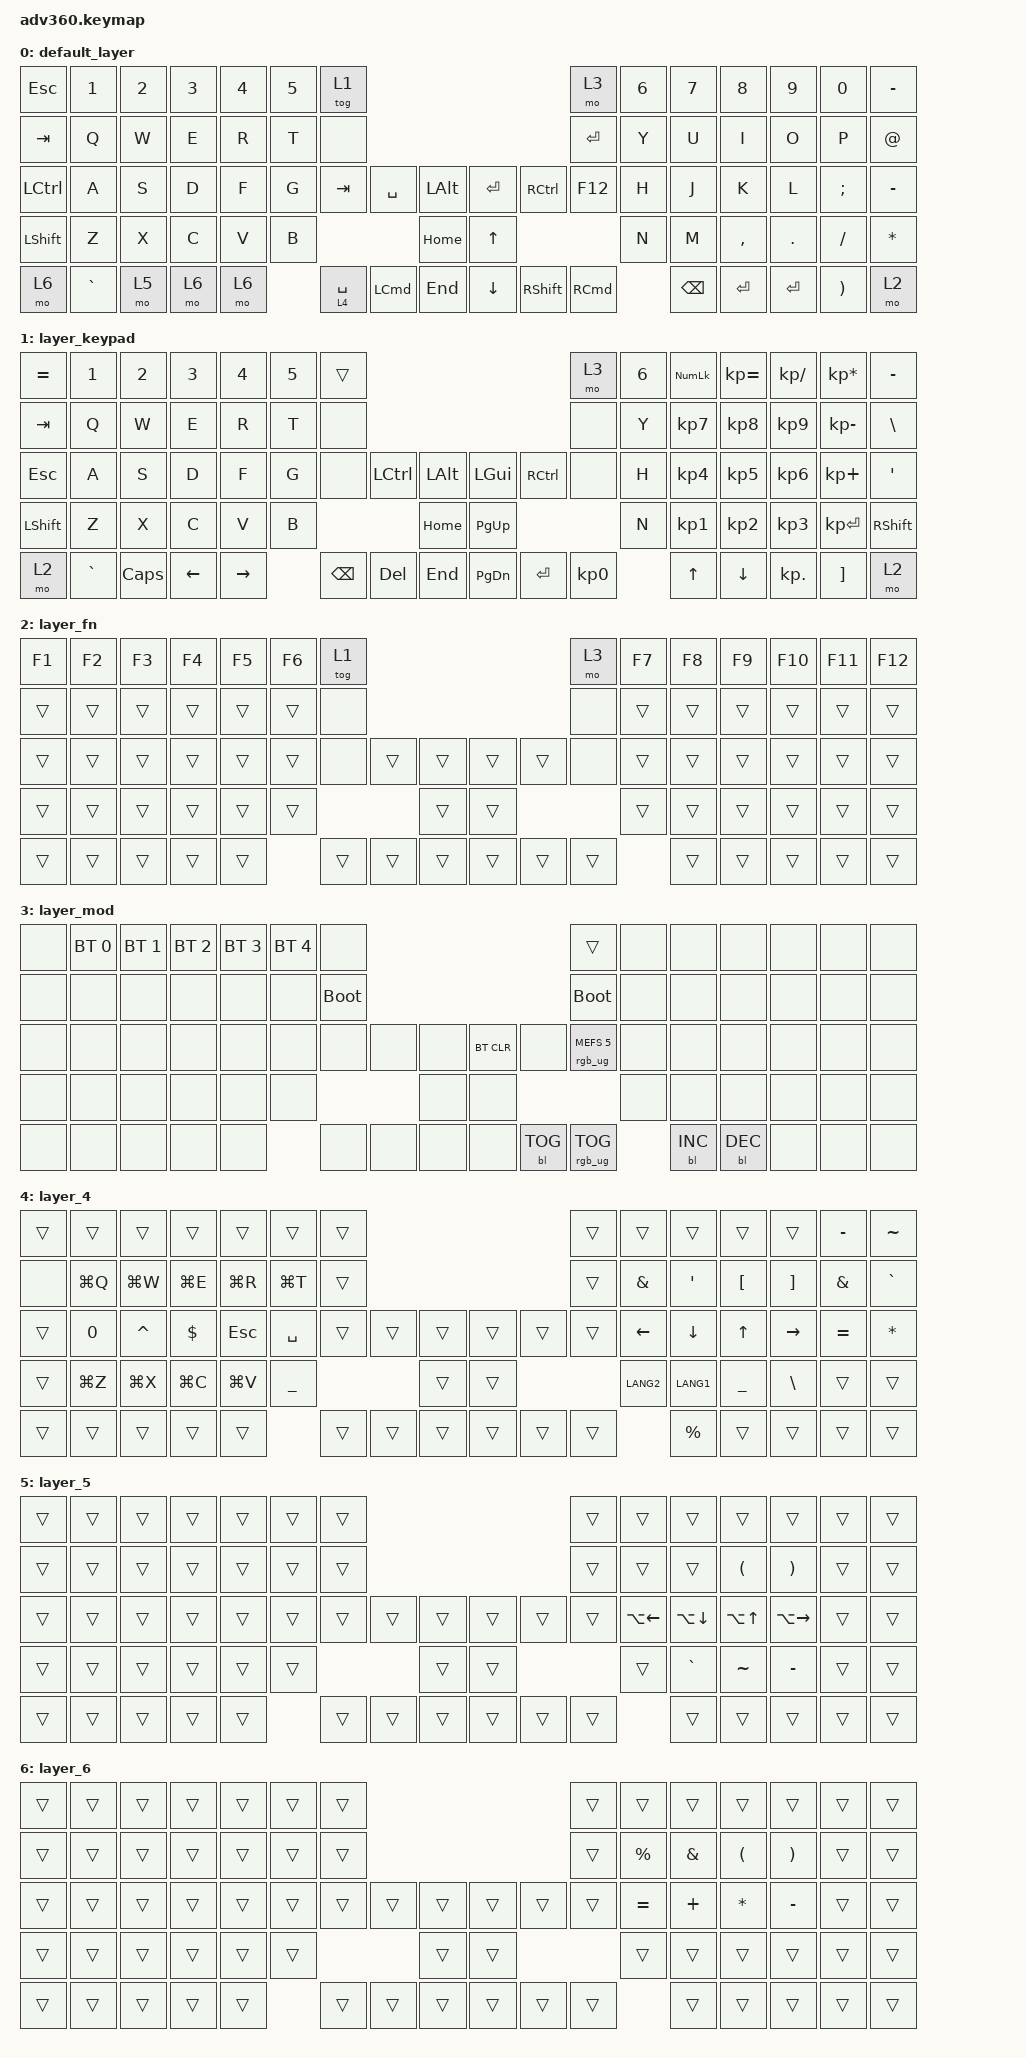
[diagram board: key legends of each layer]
/*
 * Copyright (c) 2020 The ZMK Contributors
 *
 * SPDX-License-Identifier: MIT
 */
/* THIS FILE WAS GENERATED!
 *
 * This file was generated automatically. You may or may not want to
 * edit it directly.
 */

#include <behaviors.dtsi>
#include <dt-bindings/zmk/backlight.h>
#include <dt-bindings/zmk/bt.h>
#include <dt-bindings/zmk/keys.h>
#include <dt-bindings/zmk/rgb.h>

&lt {
    flavor = "hold-preferred";
    tapping-term-ms = <10000>;
};

/ {
    behaviors {
        #include "macros.dtsi"
    #include "version.dtsi"

        hm: homerow_mods {
            compatible = "zmk,behavior-hold-tap";
            label = "HOMEROW_MODS";
            #binding-cells = <2>;
            tapping-term-ms = <200>;
            quick_tap_ms = <175>;
            flavor = "tap-preferred";
            bindings = <&kp>, <&kp>;
        };
    };

    combos { compatible = "zmk,combos"; };

    macros {
        cmdtab: cmdtab {
            compatible = "zmk,behavior-macro";
            #binding-cells = <0>;
            bindings =
                <&macro_press>,
                <&kp LCMD &kp TAB>,
                <&macro_release>,
                <&kp TAB>;

            label = "CMDTAB";
        };
    };

    keymap {
        compatible = "zmk,keymap";

        default_layer {
            bindings = <
&kp ESCAPE  &kp N1     &kp N2  &kp N3  &kp N4  &kp N5  &tog 1                                                                      &mo 3              &kp N6  &kp N7         &kp N8     &kp N9     &kp N0                 &kp MINUS
&kp TAB     &kp Q      &kp W   &kp E   &kp R   &kp T   &none                                                                       &kp ENTER          &kp Y   &kp U          &kp I      &kp O      &kp P                  &kp AT
&kp LCTRL   &kp A      &kp S   &kp D   &kp F   &kp G   &kp TAB      &kp SPACE         &kp LALT      &kp ENTER     &kp RCTRL        &kp F12            &kp H   &kp J          &kp K      &kp L      &kp SEMI               &kp MINUS
&kp LSHFT   &kp Z      &kp X   &kp C   &kp V   &kp B                                  &kp HOME      &kp UP_ARROW                                      &kp N   &kp M          &kp COMMA  &kp DOT    &kp FSLH               &kp ASTERISK
&mo 6       &kp GRAVE  &mo 5   &mo 6   &mo 6           &lt 4 SPACE  &kp LEFT_COMMAND  &kp END       &kp DOWN      &kp RIGHT_SHIFT  &kp RIGHT_COMMAND          &kp BACKSPACE  &kp ENTER  &kp ENTER  &kp RIGHT_PARENTHESIS  &mo 2
            >;
        };

        layer_keypad {
            bindings = <
&kp EQUAL  &kp N1     &kp N2    &kp N3    &kp N4     &kp N5  &trans                                                   &mo 3      &kp N6  &kp KP_NUM  &kp KP_EQUAL  &kp KP_DIVIDE  &kp KP_MULTIPLY  &kp MINUS
&kp TAB    &kp Q      &kp W     &kp E     &kp R      &kp T   &none                                                    &none      &kp Y   &kp KP_N7   &kp KP_N8     &kp KP_N9      &kp KP_MINUS     &kp BSLH
&kp ESC    &kp A      &kp S     &kp D     &kp F      &kp G   &none     &kp LCTRL  &kp LALT      &kp LGUI   &kp RCTRL  &none      &kp H   &kp KP_N4   &kp KP_N5     &kp KP_N6      &kp KP_PLUS      &kp SQT
&kp LSHFT  &kp Z      &kp X     &kp C     &kp V      &kp B                        &kp HOME      &kp PG_UP                        &kp N   &kp KP_N1   &kp KP_N2     &kp KP_N3      &kp KP_ENTER     &kp RSHFT
&mo 2      &kp GRAVE  &kp CAPS  &kp LEFT  &kp RIGHT          &kp BSPC  &kp DEL    &kp END       &kp PG_DN  &kp ENTER  &kp KP_N0          &kp UP      &kp DOWN      &kp KP_DOT     &kp RBKT         &mo 2
            >;
        };

        layer_fn {
            bindings = <
&kp F1  &kp F2  &kp F3  &kp F4  &kp F5  &kp F6  &tog 1                                      &mo 3   &kp F7  &kp F8  &kp F9  &kp F10  &kp F11  &kp F12
&trans  &trans  &trans  &trans  &trans  &trans  &none                                       &none   &trans  &trans  &trans  &trans   &trans   &trans
&trans  &trans  &trans  &trans  &trans  &trans  &none   &trans  &trans      &trans  &trans  &none   &trans  &trans  &trans  &trans   &trans   &trans
&trans  &trans  &trans  &trans  &trans  &trans                  &trans      &trans                  &trans  &trans  &trans  &trans   &trans   &trans
&trans  &trans  &trans  &trans  &trans          &trans  &trans  &trans      &trans  &trans  &trans          &trans  &trans  &trans   &trans   &trans
            >;
        };

        layer_mod {
            bindings = <
&none  &bt BT_SEL 0  &bt BT_SEL 1  &bt BT_SEL 2  &bt BT_SEL 3  &bt BT_SEL 4  &none                                                  &trans                  &none  &none       &none       &none  &none  &none
&none  &none         &none         &none         &none         &none         &bootloader                                            &bootloader             &none  &none       &none       &none  &none  &none
&none  &none         &none         &none         &none         &none         &none        &none  &none      &bt BT_CLR  &none       &rgb_ug RGB_MEFS_CMD 5  &none  &none       &none       &none  &none  &none
&none  &none         &none         &none         &none         &none                             &none      &none                                           &none  &none       &none       &none  &none  &none
&none  &none         &none         &none         &none                       &none        &none  &none      &none       &bl BL_TOG  &rgb_ug RGB_TOG                &bl BL_INC  &bl BL_DEC  &none  &none  &none
            >;
        };

        layer_4 {
            bindings = <
&trans  &trans        &trans     &trans      &trans     &trans          &trans                                      &trans  &trans         &trans            &trans            &trans             &kp MINUS      &kp TILDE
&none   &kp LG(Q)     &kp LG(W)  &kp LG(E)   &kp LG(R)  &kp LG(T)       &trans                                      &trans  &kp AMPERSAND  &kp SINGLE_QUOTE  &kp LEFT_BRACKET  &kp RIGHT_BRACKET  &kp AMPERSAND  &kp GRAVE
&trans  &kp NUMBER_0  &kp CARET  &kp DOLLAR  &kp ESC    &kp SPACE       &trans  &trans  &trans      &trans  &trans  &trans  &kp LEFT       &kp DOWN          &kp UP            &kp RIGHT          &kp EQUAL      &kp ASTERISK
&trans  &kp LG(Z)     &kp LG(X)  &kp LG(C)   &kp LG(V)  &kp UNDERSCORE                  &trans      &trans                  &kp LANG2      &kp LANG1         &kp UNDERSCORE    &kp BACKSLASH      &trans         &trans
&trans  &trans        &trans     &trans      &trans                     &trans  &trans  &trans      &trans  &trans  &trans                 &kp PERCENT       &trans            &trans             &trans         &trans
            >;
        };

        layer_5 {
            bindings = <
&trans  &trans  &trans  &trans  &trans  &trans  &trans                                      &trans  &trans        &trans        &trans                &trans                 &trans  &trans
&trans  &trans  &trans  &trans  &trans  &trans  &trans                                      &trans  &trans        &trans        &kp LEFT_PARENTHESIS  &kp RIGHT_PARENTHESIS  &trans  &trans
&trans  &trans  &trans  &trans  &trans  &trans  &trans  &trans  &trans      &trans  &trans  &trans  &kp LA(LEFT)  &kp LA(DOWN)  &kp LA(UP_ARROW)      &kp LA(RIGHT)          &trans  &trans
&trans  &trans  &trans  &trans  &trans  &trans                  &trans      &trans                  &trans        &kp GRAVE     &kp TILDE             &kp MINUS              &trans  &trans
&trans  &trans  &trans  &trans  &trans          &trans  &trans  &trans      &trans  &trans  &trans                &trans        &trans                &trans                 &trans  &trans
            >;
        };

        layer_6 {
            bindings = <
&trans  &trans  &trans  &trans  &trans  &trans  &trans                                      &trans  &trans       &trans         &trans                &trans                 &trans  &trans
&trans  &trans  &trans  &trans  &trans  &trans  &trans                                      &trans  &kp PERCENT  &kp AMPERSAND  &kp LEFT_PARENTHESIS  &kp RIGHT_PARENTHESIS  &trans  &trans
&trans  &trans  &trans  &trans  &trans  &trans  &trans  &trans  &trans      &trans  &trans  &trans  &kp EQUAL    &kp PLUS       &kp ASTERISK          &kp MINUS              &trans  &trans
&trans  &trans  &trans  &trans  &trans  &trans                  &trans      &trans                  &trans       &trans         &trans                &trans                 &trans  &trans
&trans  &trans  &trans  &trans  &trans          &trans  &trans  &trans      &trans  &trans  &trans               &trans         &trans                &trans                 &trans  &trans
            >;
        };
    };
};
